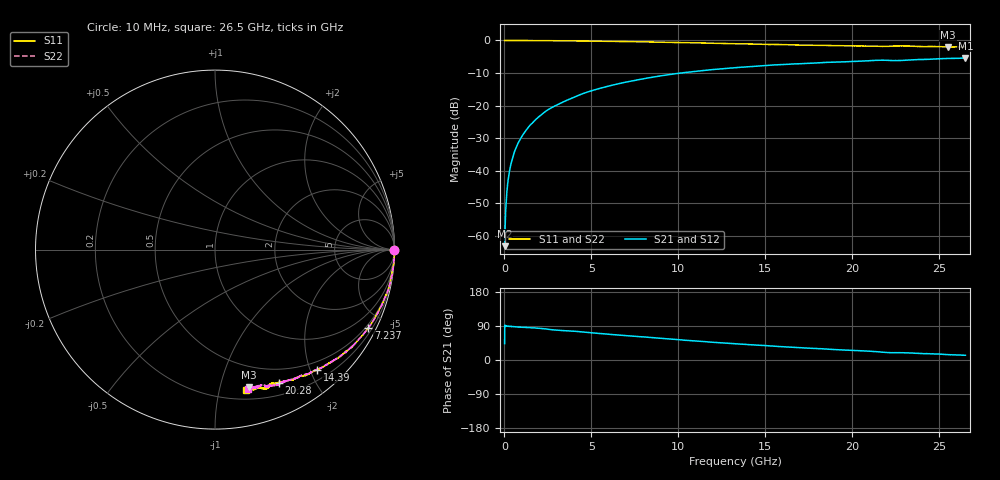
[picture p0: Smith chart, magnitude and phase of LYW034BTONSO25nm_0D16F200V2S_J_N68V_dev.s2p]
!Keysight Technologies,N5222B,MY61253708,A.15.00.15
!Date: Wednesday, June 19, 2024 09:18:14
!Correction: S11(C  2-Port  )
!S21(C  2-Port  )
!S12(C  2-Port  )
!S22(C  2-Port  )
!S2P File: Measurements: S11, S21, S12, S22:
# Hz S  RI  R 50
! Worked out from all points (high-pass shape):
!   2651 points, 10 MHz to 26.5 GHz, reference 50 ohm
!   highest |S21| = -5.36 dB at 26.5 GHz (marker M1); lowest = -63.1 dB at 20 MHz (marker M2)
!   |S21| within 3 dB of the highest: 13.25 GHz to end of sweep
!   lowest |S11| = -2.1 dB at 25.5 GHz (marker M3), VSWR 8.45, Z = 15.2 - j61.6 ohm
!   |S11| at or under -10 dB: nowhere
!   |S22| runs from -2.0 to 0.0 dB; largest |S21 - S12| = 0.0068
!   S11 on the Smith chart (normalised r, x): 10 MHz: open; 7.237 GHz: 0.38, -4.13; 14.39 GHz: 0.36, -2.12; 20.28 GHz: 0.33, -1.54; 26.5 GHz: 0.28, -1.20
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1e7  0.9987 -0.00223  0.000563 0.000525  -9.31e-05 0.000432  0.9986 -0.00101
1.999623e7  0.999 -0.00217  -2.58e-05 0.000697  -1.45e-05 0.000622  0.9991 -0.00234
8.996981e7  0.9998 -0.00599  1.24e-05 0.00307  -1.26e-05 0.00311  0.9995 -0.00571
1.699396e8  0.9998 -0.0121  6.34e-05 0.00579  6.32e-05 0.00582  0.9996 -0.0114
2.199208e8  0.9997 -0.0155  9.94e-05 0.00747  0.000132 0.00755  0.9993 -0.0148
2.798981e8  0.9997 -0.0196  0.000146 0.00953  0.000181 0.00959  0.9996 -0.019
3.798604e8  0.9993 -0.0268  0.000325 0.0129  0.000369 0.013  0.9991 -0.026
5.198075e8  0.9989 -0.0355  0.000642 0.0176  0.000627 0.0178  0.9992 -0.0353
6.797472e8  0.9981 -0.0463  0.00105 0.023  0.00103 0.0232  0.9984 -0.0459
8.896679e8  0.9974 -0.0609  0.00178 0.0299  0.00179 0.0302  0.9969 -0.0599
1.489442e9  0.9898 -0.1022  0.00431 0.0504  0.00438 0.0507  0.9927 -0.0992
2.359113e9  0.9806 -0.1569  0.011 0.0806  0.0113 0.0812  0.9819 -0.1573
4.428332e9  0.9394 -0.2854  0.0405 0.1445  0.041 0.1455  0.9408 -0.2834
7.237272e9  0.8544 -0.4358  0.1056 0.2116  0.1072 0.2124  0.8553 -0.4356
8.846664e9  0.7946 -0.5075  0.1506 0.239  0.1522 0.2398  0.7952 -0.5067
1.3255e10  0.6154 -0.6448  0.2796 0.2603  0.282 0.26  0.6177 -0.644
1.439457e10  0.5711 -0.6692  0.3088 0.2559  0.3115 0.2559  0.5732 -0.6663
1.767333e10  0.4419 -0.7203  0.3849 0.2296  0.3886 0.2278  0.4511 -0.7179
2.028235e10  0.3559 -0.743  0.435 0.2011  0.4379 0.1985  0.3707 -0.7443
2.209166e10  0.3077 -0.7498  0.4658 0.1658  0.4677 0.1626  0.3002 -0.7559
2.550038e10  0.1897 -0.7652  0.5132 0.1282  0.5148 0.1279  0.2088 -0.7682
2.65e10  0.1709 -0.7799  0.5266 0.1172  0.526 0.1132  0.1824 -0.778
